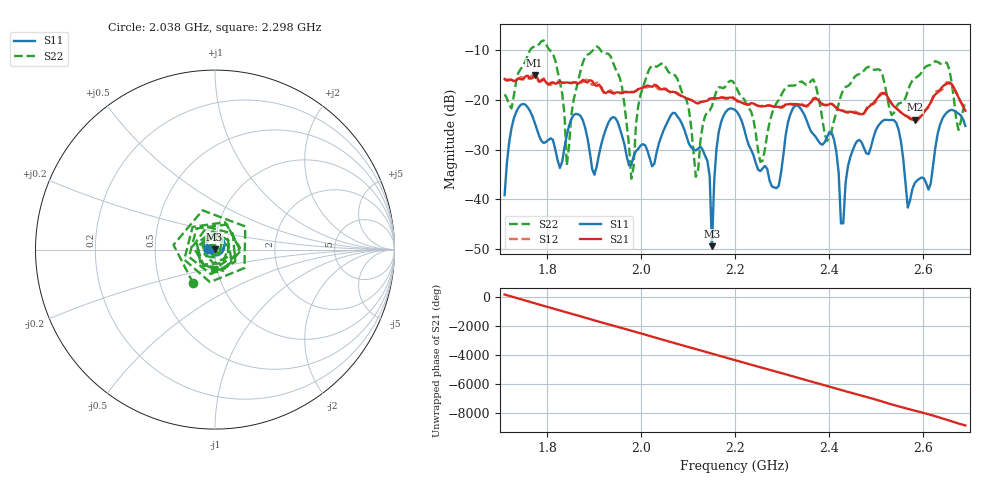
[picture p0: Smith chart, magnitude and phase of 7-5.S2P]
!Agilent Technologies,E5061B,MY49305579,A.02.22
!Date: Thu Aug 24 16:25:29 2017
!Data & Calibration Information:
!Freq	S11:SOLT2(ON)	S21:SOLT2(ON)	S12:SOLT2(ON)	S22:SOLT2(ON)
# Hz S dB R 50
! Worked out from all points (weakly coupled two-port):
!   201 points, 1.71 GHz to 2.69 GHz, reference 50 ohm
!   highest |S21| = -14.98 dB at 1.774 GHz (marker M1); lowest = -24.0 dB at 2.582 GHz (marker M2)
!   lowest |S11| = -49.4 dB at 2.151 GHz (marker M3), VSWR 1.01, Z = 49.8 + j0.232 ohm
!   |S11| at or under -10 dB: start of sweep to end of sweep
!   |S22| runs from -35.8 to -8.0 dB; largest |S21 - S12| = 0.016
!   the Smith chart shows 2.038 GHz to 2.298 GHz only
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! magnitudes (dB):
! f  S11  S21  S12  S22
! 1.71 GHz  -39.1  -15.8  -15.9  -18.8
! 1.734 GHz  -22.4  -16.0  -16.0  -16.3
! 1.774 GHz  -24.5  -15.0  -15.4  -9.3
! 1.818 GHz  -29.9  -16.7  -16.1  -12.0
! 1.842 GHz  -27.0  -16.4  -16.4  -33.2
! 1.877 GHz  -24.1  -15.9  -16.3  -12.4
! 1.955 GHz  -25.7  -18.5  -18.6  -15.5
! 1.98 GHz  -33.1  -18.4  -18.4  -35.8
! 2.038 GHz  -28.7  -17.5  -17.9  -13.0
! 2.117 GHz  -30.1  -20.6  -20.5  -35.4
! 2.141 GHz  -32.2  -20.1  -20.0  -22.3
! 2.151 GHz  -49.4  -19.6  -19.7  -21.2
! 2.166 GHz  -26.3  -19.6  -19.5  -17.4
! 2.2 GHz  -22.0  -19.8  -19.8  -16.9
! 2.254 GHz  -34.3  -21.3  -21.2  -32.4
! 2.367 GHz  -26.8  -19.8  -19.6  -15.8
! 2.396 GHz  -27.4  -21.0  -21.0  -28.2
! 2.43 GHz  -44.8  -22.3  -22.1  -17.9
! 2.455 GHz  -29.0  -22.6  -22.3  -15.3
! 2.528 GHz  -24.0  -20.0  -20.1  -21.7
! 2.582 GHz  -36.7  -24.0  -24.3  -15.6
! 2.69 GHz  -25.2  -22.2  -22.0  -20.2
